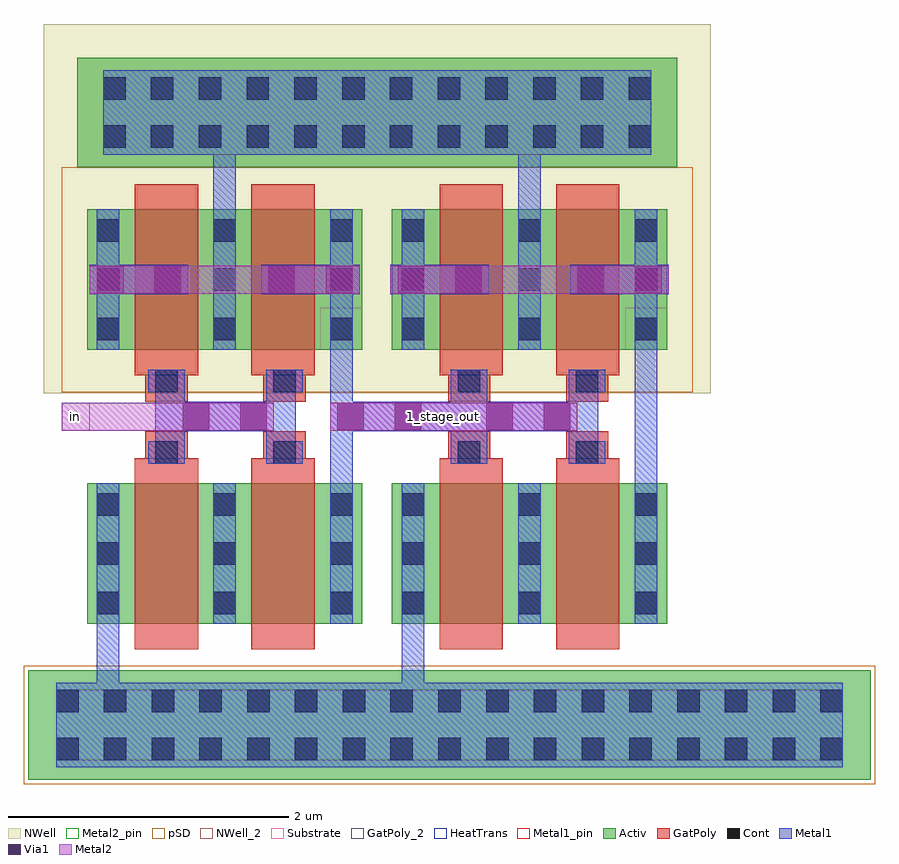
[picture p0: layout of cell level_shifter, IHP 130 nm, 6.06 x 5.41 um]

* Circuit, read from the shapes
.subckt level_shifter 1_stage_out in
XM1 n1 in VSUBS VSUBS sg13_lv_nmos w=1u l=0.45u
XM2 1_stage_out in n1 VSUBS sg13_lv_nmos w=1u l=0.45u
XM3 n2 1_stage_out VSUBS VSUBS sg13_lv_nmos w=1u l=0.45u
XM4 n3 1_stage_out n2 VSUBS sg13_lv_nmos w=1u l=0.45u
XM5 ntap1_5/well in 1_stage_out ntap1_5/well sg13_lv_pmos w=1u l=0.45u m=2
XM6 ntap1_5/well 1_stage_out n3 ntap1_5/well sg13_lv_pmos w=1u l=0.45u m=2
.ends

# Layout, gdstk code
import gdstk
lib = gdstk.Library(unit=1e-6, precision=1e-09)
def R(c, l, rs):  # rectangles x0, y0, x1, y1
    for r in rs: c.add(gdstk.rectangle(r[:2], r[2:], *l))
def A(c, l, x, y, w, h, nx, ny, dx, dy):  # array of equal rectangles
    R(c, l, [(x+i*dx, y+j*dy, x+i*dx+w, y+j*dy+h) for i in range(nx) for j in range(ny)])
Activ = (1, 0)
GatPoly = (5, 0)
GatPoly_2 = (5, 2)
Cont = (6, 0)
Metal1 = (8, 0)
Metal1_pin = (8, 2)
Metal2 = (10, 0)
Metal2_pin = (10, 2)
pSD = (14, 0)
Via1 = (19, 0)
NWell = (31, 0)
NWell_2 = (31, 2)
Substrate = (40, 0)
HeatTrans = (51, 0)

nmos = lib.new_cell('nmos')
R(nmos, Activ, [(0,0,0.3,0.3), (0,0,1.13,1), (0.83,0,1.13,0.3)])
R(nmos, GatPoly, [(0.34,-0.18,0.79,1.18)])
R(nmos, GatPoly_2, [(0.34,-0.18,0.79,1.18)])
A(nmos, Cont, 0.07, 0.07, 0.16, 0.16, 1, 3, 0, 0.35)
A(nmos, Cont, 0.9, 0.07, 0.16, 0.16, 1, 3, 0, 0.35)
R(nmos, Metal1, [(0.07,0,0.23,1), (0.9,0,1.06,1)])
R(nmos, Metal1_pin, [(0.07,0,0.23,1), (0.9,0,1.06,1)])
R(nmos, HeatTrans, [(0.34,-0.18,0.79,1.18)])
nmos.add(gdstk.Label('nmos', (0.565,0.5), layer=63, texttype=0))
nmos.add(gdstk.Label('nmos', (0.565,0.5), layer=51, texttype=0))

pmos = lib.new_cell('pmos')
A(pmos, Activ, 0, 0, 0.3, 0.3, 3, 1, 0.83, 0)
R(pmos, Activ, [(0,0,1.96,1)])
R(pmos, GatPoly, [(0.34,-0.18,0.79,1.18), (0.34,-0.18,0.79,1.18), (1.17,-0.18,1.62,1.18)])
A(pmos, Cont, 0.07, 0.07, 0.16, 0.16, 3, 3, 0.83, 0.35)
R(pmos, Metal1, [(0.07,0,0.23,1), (0.07,0,0.23,1), (0.9,0,1.06,1), (0.9,0,1.06,1), (1.73,0,1.89,1)])
R(pmos, pSD, [(-0.18,-0.3,2.14,1.3)])
R(pmos, NWell, [(-0.31,-0.31,2.27,1.31)])
R(pmos, Substrate, [(1.66,0,1.96,0.3)])
R(pmos, HeatTrans, [(0.34,-0.18,0.79,1.18), (1.17,-0.18,1.62,1.18)])
pmos.add(gdstk.Label('pmos', (0.565,0.5), layer=63, texttype=0))
pmos.add(gdstk.Label('pmos', (0.565,0.5), layer=51, texttype=0))
pmos.add(gdstk.Label('pmos', (1.395,0.5), layer=51, texttype=0))

ntap1 = lib.new_cell('ntap1')
R(ntap1, Activ, [(0,0,4.27,0.78)])
A(ntap1, Cont, 0.185, 0.14, 0.16, 0.16, 12, 2, 0.34, 0.34)
R(ntap1, Metal1, [(0.185,0.09,4.085,0.69)])
R(ntap1, Metal1_pin, [(0.185,0.09,4.085,0.69), (0.185,0.14,4.085,0.64)])
R(ntap1, NWell, [(-0.24,-0.24,4.51,1.02), (0,0,4.27,0.78)])
R(ntap1, NWell_2, [(0,0,4.27,0.78)])
ntap1.add(gdstk.Label('well', (2.135,0.01), layer=31, texttype=0))
ntap1.add(gdstk.Label('well', (2.135,0.01), layer=63, texttype=0))

via = lib.new_cell('Via')
R(via, GatPoly, [(-0.15,-0.15,0.15,0.15)])
R(via, Cont, [(-0.08,-0.08,0.08,0.08)])
R(via, Metal1, [(-0.13,-0.08,0.13,0.08)])

via_3 = lib.new_cell('Via$3')
R(via_3, Metal1, [(-0.35,-0.105,0.35,0.105)])
R(via_3, Metal2, [(-0.35,-0.1,0.35,0.1)])
R(via_3, Via1, [(-0.3,-0.095,-0.11,0.095), (0.11,-0.095,0.3,0.095)])

ptap1 = lib.new_cell('ptap1')
R(ptap1, Activ, [(0,0,6,0.78)])
A(ptap1, Cont, 0.2, 0.14, 0.16, 0.16, 17, 2, 0.34, 0.34)
R(ptap1, Metal1, [(0.2,0.09,5.8,0.69), (0.2,0.14,5.8,0.64)])
R(ptap1, Metal1_pin, [(0.2,0.14,5.8,0.64)])
R(ptap1, pSD, [(-0.03,-0.03,6.03,0.81)])
R(ptap1, Substrate, [(0,0,6,0.78)])
ptap1.add(gdstk.Label('sub!', (3,0.01), layer=63, texttype=0))
ptap1.add(gdstk.Label('sub!', (3,0.01), layer=40, texttype=0))

level_shifter = lib.new_cell('level_shifter')
R(level_shifter, Metal1, [(23.125,24.025,23.175,24.375), (23.755,24.025,23.965,24.375), (25.07,24.025,25.12,24.375), (25.28,24.025,25.33,24.375), (25.91,24.025,25.965,24.375), (24.91,24.095,25.29,24.305)])
R(level_shifter, Metal2_pin, [(22.3,24.1,22.5,24.3)])
level_shifter.add(gdstk.FlexPath([(22.63,22.725),(22.63,22.305)], 0.16, ends="flush", simple_path=True, layer=8, datatype=0))  # Metal1
level_shifter.add(gdstk.FlexPath([(25.2,23.945),(25.2,24.455)], 0.16, ends="flush", simple_path=True, layer=8, datatype=0))  # Metal1
level_shifter.add(gdstk.FlexPath([(26.04,23.945),(26.04,24.455)], 0.16, ends="flush", simple_path=True, layer=8, datatype=0))  # Metal1
level_shifter.add(gdstk.FlexPath([(24.83,25.175),(24.83,25.175)], 0.16, ends="flush", simple_path=True, layer=8, datatype=0))  # Metal1
level_shifter.add(gdstk.FlexPath([(26.46,24.675),(26.46,23.725)], 0.16, ends="flush", simple_path=True, layer=8, datatype=0))  # Metal1
level_shifter.add(gdstk.FlexPath([(24.8,22.725),(24.8,22.305)], 0.16, ends="flush", simple_path=True, layer=8, datatype=0))  # Metal1
level_shifter.add(gdstk.FlexPath([(23.46,25.675),(23.46,26.065)], 0.16, ends="flush", simple_path=True, layer=8, datatype=0))  # Metal1
level_shifter.add(gdstk.FlexPath([(25.63,25.675),(25.63,26.065)], 0.16, ends="flush", simple_path=True, layer=8, datatype=0))  # Metal1
level_shifter.add(gdstk.FlexPath([(23.045,23.945),(23.045,24.455)], 0.16, ends="flush", simple_path=True, layer=8, datatype=0))  # Metal1
level_shifter.add(gdstk.FlexPath([(23.885,23.945),(23.885,24.455)], 0.16, ends="flush", simple_path=True, layer=8, datatype=0))  # Metal1
level_shifter.add(gdstk.FlexPath([(24.29,24.675),(24.29,23.725)], 0.16, ends="flush", simple_path=True, layer=8, datatype=0))  # Metal1
level_shifter.add(gdstk.FlexPath([(22.63,25.175),(22.63,25.175)], 0.16, ends="flush", simple_path=True, layer=8, datatype=0))  # Metal1
level_shifter.add(gdstk.FlexPath([(23.255,24.2),(22.3,24.2)], 0.2, ends="flush", simple_path=True, layer=10, datatype=0))  # Metal2
level_shifter.add(gdstk.FlexPath([(24.765,24.2),(25.415,24.2)], 0.2, ends="flush", simple_path=True, layer=10, datatype=0))  # Metal2
level_shifter.add(gdstk.FlexPath([(25.255,25.175),(26.065,25.175)], 0.2, ends="flush", simple_path=True, layer=10, datatype=0))  # Metal2
level_shifter.add(gdstk.FlexPath([(23.055,25.175),(23.865,25.175)], 0.2, ends="flush", simple_path=True, layer=10, datatype=0))  # Metal2
level_shifter.add(gdstk.FlexPath([(25.2,24.495),(25.2,24.495)], 0.16, ends="flush", simple_path=True, layer=5, datatype=0))  # GatPoly
level_shifter.add(gdstk.FlexPath([(23.045,24.495),(23.045,24.495)], 0.16, ends="flush", simple_path=True, layer=5, datatype=0))  # GatPoly
level_shifter.add(gdstk.Reference(nmos, (22.48,22.725)))
level_shifter.add(gdstk.Reference(nmos, (23.31,22.725)))
level_shifter.add(gdstk.Reference(pmos, (24.65,24.675)))
level_shifter.add(gdstk.Reference(nmos, (24.65,22.725)))
level_shifter.add(gdstk.Reference(nmos, (25.48,22.725)))
level_shifter.add(gdstk.Reference(ntap1, (22.41,25.975)))
level_shifter.add(gdstk.Reference(via, (23.045,23.945)))
level_shifter.add(gdstk.Reference(via, (23.885,23.945)))
level_shifter.add(gdstk.Reference(via_3, (24.07,25.175)))
level_shifter.add(gdstk.Reference(via_3, (22.85,25.175)))
level_shifter.add(gdstk.Reference(pmos, (22.48,24.675)))
level_shifter.add(gdstk.Reference(ptap1, (22.06,21.615)))
level_shifter.add(gdstk.Reference(via_3, (23.46,24.2)))
level_shifter.add(gdstk.Reference(via, (23.045,24.455)))
level_shifter.add(gdstk.Reference(via, (23.885,24.455)))
level_shifter.add(gdstk.Reference(via, (25.2,23.945)))
level_shifter.add(gdstk.Reference(via, (26.04,23.945)))
level_shifter.add(gdstk.Reference(via_3, (25.62,24.2)))
level_shifter.add(gdstk.Reference(via, (25.2,24.455)))
level_shifter.add(gdstk.Reference(via, (26.04,24.455)))
level_shifter.add(gdstk.Reference(via_3, (24.56,24.2)))
level_shifter.add(gdstk.Reference(via_3, (26.27,25.175)))
level_shifter.add(gdstk.Reference(via_3, (24.99,25.175)))
level_shifter.add(gdstk.Label('1_stage_out', (25.015,24.2), layer=10, texttype=0))
level_shifter.add(gdstk.Label('in', (22.4,24.2), layer=10, texttype=25))

lib.write_gds('level_shifter.gds')
